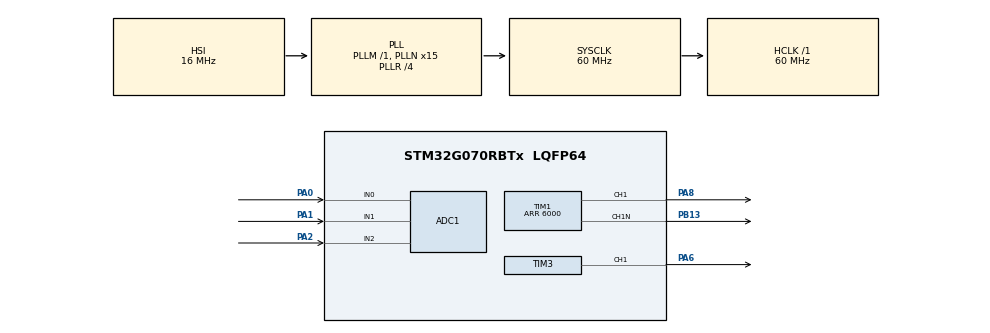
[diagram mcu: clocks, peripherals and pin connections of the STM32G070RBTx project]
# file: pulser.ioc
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ADC1.Channel-0\#ChannelRegularConversion=ADC_CHANNEL_0
ADC1.NbrOfConversionFlag=1
ADC1.Rank-0\#ChannelRegularConversion=1
ADC1.SamplingTime-0\#ChannelRegularConversion=ADC_SAMPLINGTIME_COMMON_1
ADC1.SelectedChannel=ADC_CHANNEL_0|ADC_CHANNEL_1|ADC_CHANNEL_2
ADC1.master=1
Mcu.Family=STM32G0
Mcu.Name=STM32G070RBTx
Mcu.Package=LQFP64
NVIC.TIM17_IRQn=true\:1\:0\:true\:false\:true\:true\:true\:true
NVIC.TIM1_CC_IRQn=true\:0\:0\:false\:false\:true\:true\:true\:true
PA0.Mode=IN0
PA0.Signal=ADC1_IN0
PA1.Mode=IN1
PA1.Signal=ADC1_IN1
PA13.Mode=Serial_Wire
PA13.Signal=SYS_SWDIO
PA14-BOOT0.Mode=Serial_Wire
PA14-BOOT0.Signal=SYS_SWCLK
PA2.Mode=IN2
PA2.Signal=ADC1_IN2
PA6.GPIO_PuPd=GPIO_NOPULL
PA6.GPIO_Speed=GPIO_SPEED_FREQ_MEDIUM
PA6.Signal=S_TIM3_CH1
PA8.GPIO_PuPd=GPIO_PULLDOWN
PA8.GPIO_Speed=GPIO_SPEED_FREQ_MEDIUM
PA8.Signal=S_TIM1_CH1
PB13.GPIO_PuPd=GPIO_PULLUP
PB13.GPIO_Speed=GPIO_SPEED_FREQ_MEDIUM
PB13.Mode=PWM Generation1 CH1 CH1N
PB13.Signal=TIM1_CH1N
ProjectManager.HeapSize=0x200
ProjectManager.StackSize=0x400
ProjectManager.TargetToolchain=MDK-ARM V5.32
RCC.ADCFreq_Value=60000000
RCC.AHBFreq_Value=60000000
RCC.CortexFreq_Value=60000000
RCC.EXTERNAL_CLOCK_VALUE=48000
RCC.HCLKFreq_Value=60000000
RCC.HSE_VALUE=8000000
RCC.HSI_VALUE=16000000
RCC.LSE_VALUE=32768
RCC.PLLN=15
RCC.PLLR=RCC_PLLR_DIV4
RCC.SYSCLKFreq_VALUE=60000000
RCC.SYSCLKSource=RCC_SYSCLKSOURCE_PLLCLK
RCC.VCOOutputFreq_Value=240000000
SH.S_TIM1_CH1.0=TIM1_CH1,PWM Generation1 CH1 CH1N
SH.S_TIM3_CH1.0=TIM3_CH1,PWM Generation1 CH1
TIM1.AutoReloadPreload=TIM_AUTORELOAD_PRELOAD_DISABLE
TIM1.Channel-PWM\ Generation1\ CH1\ CH1N=TIM_CHANNEL_1
TIM1.CounterMode=TIM_COUNTERMODE_UP
TIM1.OCNIdleState_1=TIM_OCNIDLESTATE_SET
TIM1.Period=6000
TIM1.Pulse-PWM\ Generation1\ CH1\ CH1N=100
TIM17.Period=60000-1
TIM3.AutoReloadPreload=TIM_AUTORELOAD_PRELOAD_ENABLE
TIM3.Channel-PWM\ Generation1\ CH1=TIM_CHANNEL_1
TIM3.Period=2048-1
TIM3.Pulse-PWM\ Generation1\ CH1=500
VP_SYS_VS_DBSignals.Mode=DisableDeadBatterySignals
VP_TIM17_VS_ClockSourceINT.Mode=Enable_Timer
VP_TIM1_VS_ClockSourceINT.Mode=Internal
VP_TIM3_VS_ClockSourceINT.Mode=Internal
board=custom

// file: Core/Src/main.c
/* USER CODE BEGIN Header */
/**
  ******************************************************************************
  * @file           : main.c
  * @brief          : Main program body
  ******************************************************************************
  * @attention
  *
  * Copyright (c) 2025 STMicroelectronics.
  * All rights reserved.
  *
  * This software is licensed under terms that can be found in the LICENSE file
  * in the root directory of this software component.
  * If no LICENSE file comes with this software, it is provided AS-IS.
  *
  ******************************************************************************
  */
/* USER CODE END Header */
#include "main.h"

/* USER CODE BEGIN Includes */
#include <math.h>
#include <float.h>
/* USER CODE END Includes */

 ADC_HandleTypeDef hadc1;

TIM_HandleTypeDef htim1;
TIM_HandleTypeDef htim3;
TIM_HandleTypeDef htim17;

void SystemClock_Config(void);
static void MX_GPIO_Init(void);
static void MX_TIM3_Init(void);
static void MX_TIM17_Init(void);
static void MX_ADC1_Init(void);
static void MX_TIM1_Init(void);

/* USER CODE BEGIN 0 */

#define htimDAC htim3
#define htimPWM htim1
#define htimTIM htim17

/**
  * @brief  配置PWM脉冲宽度（不修改PSC和ARR）
  * @param  htim: 定时器句柄指针
  * @param  Channel: PWM通道（TIM_CHANNEL_1等）
  * @param  pulseWidth_ns: 期望的脉冲宽度（纳秒）
  * @retval HAL状态
  */
HAL_StatusTypeDef TIM_ConfigPulseWidth(TIM_HandleTypeDef *htim, uint32_t Channel, uint32_t pulseWidth_ns)
{
    // 获取当前定时器配置
    uint32_t psc = htim->Instance->PSC;
    uint32_t arr = htim->Instance->ARR;
    uint32_t timerClockFreq = HAL_RCC_GetHCLKFreq(); // 假设使用APB1定时器（调整根据实际情况）

    // 计算定时器计数周期时间（纳秒）
    float timerPeriod_ns = (1.0f / (timerClockFreq / (psc + 1))) * 1e9f;

    // 计算需要的CCR值
    uint32_t ccr = (uint32_t)(pulseWidth_ns / timerPeriod_ns);

    // 确保CCR1小于ARR/2（根据需求）
    if (ccr > (arr / 2)) {
        ccr = arr / 2;
    }

    // 确保CCR值有效
    if (ccr == 0) {
        ccr = 1; // 脉冲宽度太短或太长
    }

    // 配置CCR寄存器
    switch (Channel) {
        case TIM_CHANNEL_1:
            htim->Instance->CCR1 = ccr;
            break;
        case TIM_CHANNEL_2:
            htim->Instance->CCR2 = ccr;
            break;
        case TIM_CHANNEL_3:
            htim->Instance->CCR3 = ccr;
            break;
        case TIM_CHANNEL_4:
            htim->Instance->CCR4 = ccr;
            break;
        default:
            return HAL_ERROR;
    }

    return HAL_OK;
}

/**
  * @brief  配置定时器以生成指定的频率（支持0.1Hz及误差优化）
  * @param  htim: 定时器句柄指针
  * @param  desiredFreq: 期望生成的频率(Hz) (支持0.1Hz及以上)
  * @retval HAL状态
  */
HAL_StatusTypeDef TIM_ConfigFrequencyOptimized(
                            float desiredFreq,
                            uint32_t pulseWidth_ns)
{
    // 检查输入参数的有效性
    if (desiredFreq <= 0.0f)
    {
        return HAL_ERROR;
    }

    uint32_t bestPsc = 0;
    uint32_t bestArr = 0;
    float minError = FLT_MAX;  // 初始化为最大浮点数
    float actualFreq = 0.0f;
    uint32_t timerClockFreq = HAL_RCC_GetHCLKFreq();

    // 计算理论周期数
    float desiredPeriods = (float)timerClockFreq / desiredFreq;

    // 搜索最佳PSC和ARR组合
    for (uint32_t psc = 0; psc <= 0xFFFF; psc++)
    {
        uint32_t arr = (uint32_t)(desiredPeriods / (psc + 1)) - 1;

        // 确保ARR在有效范围内
        if (arr > 0xFFFF)
            continue;

        // 计算实际频率和误差
        actualFreq = (float)timerClockFreq / ((psc + 1) * (arr + 1));
        float error = fabsf(actualFreq - desiredFreq);

        // 如果找到更精确的组合，更新最佳值
        if (error < minError)
        {
            minError = error;
            bestPsc = psc;
            bestArr = arr;

            // 如果误差已经很小，提前退出循环
            if (error < (desiredFreq * 0.001f)) // 0.1%误差
                break;
        }
    }

    // 检查是否找到有效组合
    if (bestArr == 0 && bestPsc == 0 && desiredFreq < ((float)timerClockFreq / (0xFFFFFFFF)))
    {
        // 处理极低频情况
        bestPsc = 0xFFFF;
        bestArr = (uint32_t)((float)timerClockFreq / (desiredFreq * (bestPsc + 1))) - 1;

        if (bestArr > 0xFFFF)
            return HAL_ERROR;
    }

    // 配置定时器
    HAL_TIM_PWM_Stop_IT(&htimPWM, TIM_CHANNEL_1);
		HAL_TIMEx_PWMN_Stop(&htimPWM, TIM_CHANNEL_1);
    HAL_TIM_Base_Stop_IT(&htimTIM);

    if(bestPsc == 0)
    {
        //只用到了PWM定时器
        __HAL_TIM_SET_PRESCALER(&htimPWM, 0);
        __HAL_TIM_SET_AUTORELOAD(&htimPWM, bestArr);

        TIM_ConfigPulseWidth(&htimPWM, TIM_CHANNEL_1, pulseWidth_ns);

        HAL_TIM_PWM_Start(&htimPWM, TIM_CHANNEL_1);
				HAL_TIMEx_PWMN_Start(&htimPWM, TIM_CHANNEL_1);
    }
    else
    {
        __HAL_TIM_SET_PRESCALER(&htimTIM, bestPsc);
        __HAL_TIM_SET_AUTORELOAD(&htimTIM, bestArr);
        //只用到了PWM定时器
        __HAL_TIM_SET_PRESCALER(&htimPWM, 0);
        __HAL_TIM_SET_AUTORELOAD(&htimPWM, 60000-1);

        TIM_ConfigPulseWidth(&htimPWM, TIM_CHANNEL_1, pulseWidth_ns);

        __HAL_TIM_SET_AUTORELOAD(&htimPWM, htimPWM.Instance->CCR1+10000);

        HAL_TIM_Base_Start_IT(&htimTIM);

    }

    return HAL_OK;
}

void HAL_TIM_PeriodElapsedCallback(TIM_HandleTypeDef *htim)
{
    if(htim == &htimTIM){
        HAL_TIM_PWM_Start_IT(&htimPWM, TIM_CHANNEL_1);
				HAL_TIMEx_PWMN_Start_IT(&htimPWM, TIM_CHANNEL_1);

    }
}

void HAL_TIM_PWM_PulseFinishedCallback(TIM_HandleTypeDef *htim)
{
    if(htim == &htimPWM){
				HAL_TIMEx_PWMN_Stop_IT(&htimPWM, TIM_CHANNEL_1);
        HAL_TIM_PWM_Stop_IT(&htimPWM, TIM_CHANNEL_1);
    }
}

uint32_t freq = 50,pulse = 100;
uint8_t need_fresh = 0;

/* USER CODE END 0 */

int main(void)
{

  /* MCU Configuration--------------------------------------------------------*/

  /* Reset of all peripherals, Initializes the Flash interface and the Systick. */
  HAL_Init();

  /* Configure the system clock */
  SystemClock_Config();

  /* Initialize all configured peripherals */
  MX_GPIO_Init();
  MX_TIM3_Init();
  MX_TIM17_Init();
  MX_ADC1_Init();
  MX_TIM1_Init();
  /* USER CODE BEGIN 2 */

  TIM_ConfigFrequencyOptimized(500, 6000);
	HAL_TIM_PWM_Start(&htimDAC, TIM_CHANNEL_1);

  /* USER CODE END 2 */

  /* Infinite loop */
  /* USER CODE BEGIN WHILE */
  while (1)
  {
      if(need_fresh){
          need_fresh = 0;
          TIM_ConfigFrequencyOptimized(freq / 10.0f, pulse);
      }
    /* USER CODE END WHILE */

  }
}

void SystemClock_Config(void)
{
  RCC_OscInitTypeDef RCC_OscInitStruct = {0};
  RCC_ClkInitTypeDef RCC_ClkInitStruct = {0};

  /** Configure the main internal regulator output voltage
  */
  HAL_PWREx_ControlVoltageScaling(PWR_REGULATOR_VOLTAGE_SCALE1);

  /** Initializes the RCC Oscillators according to the specified parameters
  * in the RCC_OscInitTypeDef structure.
  */
  RCC_OscInitStruct.OscillatorType = RCC_OSCILLATORTYPE_HSI;
  RCC_OscInitStruct.HSIState = RCC_HSI_ON;
  RCC_OscInitStruct.HSIDiv = RCC_HSI_DIV1;
  RCC_OscInitStruct.HSICalibrationValue = RCC_HSICALIBRATION_DEFAULT;
  RCC_OscInitStruct.PLL.PLLState = RCC_PLL_ON;
  RCC_OscInitStruct.PLL.PLLSource = RCC_PLLSOURCE_HSI;
  RCC_OscInitStruct.PLL.PLLM = RCC_PLLM_DIV1;
  RCC_OscInitStruct.PLL.PLLN = 15;
  RCC_OscInitStruct.PLL.PLLP = RCC_PLLP_DIV2;
  RCC_OscInitStruct.PLL.PLLR = RCC_PLLR_DIV4;
  if (HAL_RCC_OscConfig(&RCC_OscInitStruct) != HAL_OK)
  {
    Error_Handler();
  }

  /** Initializes the CPU, AHB and APB buses clocks
  */
  RCC_ClkInitStruct.ClockType = RCC_CLOCKTYPE_HCLK|RCC_CLOCKTYPE_SYSCLK
                              |RCC_CLOCKTYPE_PCLK1;
  RCC_ClkInitStruct.SYSCLKSource = RCC_SYSCLKSOURCE_PLLCLK;
  RCC_ClkInitStruct.AHBCLKDivider = RCC_SYSCLK_DIV1;
  RCC_ClkInitStruct.APB1CLKDivider = RCC_HCLK_DIV1;

  if (HAL_RCC_ClockConfig(&RCC_ClkInitStruct, FLASH_LATENCY_2) != HAL_OK)
  {
    Error_Handler();
  }
}

static void MX_ADC1_Init(void)
{

  ADC_ChannelConfTypeDef sConfig = {0};

  /** Configure the global features of the ADC (Clock, Resolution, Data Alignment and number of conversion)
  */
  hadc1.Instance = ADC1;
  hadc1.Init.ClockPrescaler = ADC_CLOCK_SYNC_PCLK_DIV2;
  hadc1.Init.Resolution = ADC_RESOLUTION_12B;
  hadc1.Init.DataAlign = ADC_DATAALIGN_RIGHT;
  hadc1.Init.ScanConvMode = ADC_SCAN_DISABLE;
  hadc1.Init.EOCSelection = ADC_EOC_SINGLE_CONV;
  hadc1.Init.LowPowerAutoWait = DISABLE;
  hadc1.Init.LowPowerAutoPowerOff = DISABLE;
  hadc1.Init.ContinuousConvMode = DISABLE;
  hadc1.Init.NbrOfConversion = 1;
  hadc1.Init.ExternalTrigConv = ADC_SOFTWARE_START;
  hadc1.Init.ExternalTrigConvEdge = ADC_EXTERNALTRIGCONVEDGE_NONE;
  hadc1.Init.DMAContinuousRequests = DISABLE;
  hadc1.Init.Overrun = ADC_OVR_DATA_PRESERVED;
  hadc1.Init.SamplingTimeCommon1 = ADC_SAMPLETIME_1CYCLE_5;
  hadc1.Init.SamplingTimeCommon2 = ADC_SAMPLETIME_1CYCLE_5;
  hadc1.Init.OversamplingMode = DISABLE;
  hadc1.Init.TriggerFrequencyMode = ADC_TRIGGER_FREQ_HIGH;
  if (HAL_ADC_Init(&hadc1) != HAL_OK)
  {
    Error_Handler();
  }

  /** Configure Regular Channel
  */
  sConfig.Channel = ADC_CHANNEL_0;
  sConfig.Rank = ADC_REGULAR_RANK_1;
  sConfig.SamplingTime = ADC_SAMPLINGTIME_COMMON_1;
  if (HAL_ADC_ConfigChannel(&hadc1, &sConfig) != HAL_OK)
  {
    Error_Handler();
  }

}

static void MX_TIM1_Init(void)
{

  TIM_ClockConfigTypeDef sClockSourceConfig = {0};
  TIM_MasterConfigTypeDef sMasterConfig = {0};
  TIM_OC_InitTypeDef sConfigOC = {0};
  TIM_BreakDeadTimeConfigTypeDef sBreakDeadTimeConfig = {0};

  htim1.Instance = TIM1;
  htim1.Init.Prescaler = 0;
  htim1.Init.CounterMode = TIM_COUNTERMODE_UP;
  htim1.Init.Period = 6000;
  htim1.Init.ClockDivision = TIM_CLOCKDIVISION_DIV1;
  htim1.Init.RepetitionCounter = 0;
  htim1.Init.AutoReloadPreload = TIM_AUTORELOAD_PRELOAD_DISABLE;
  if (HAL_TIM_Base_Init(&htim1) != HAL_OK)
  {
    Error_Handler();
  }
  sClockSourceConfig.ClockSource = TIM_CLOCKSOURCE_INTERNAL;
  if (HAL_TIM_ConfigClockSource(&htim1, &sClockSourceConfig) != HAL_OK)
  {
    Error_Handler();
  }
  if (HAL_TIM_PWM_Init(&htim1) != HAL_OK)
  {
    Error_Handler();
  }
  sMasterConfig.MasterOutputTrigger = TIM_TRGO_RESET;
  sMasterConfig.MasterOutputTrigger2 = TIM_TRGO2_RESET;
  sMasterConfig.MasterSlaveMode = TIM_MASTERSLAVEMODE_DISABLE;
  if (HAL_TIMEx_MasterConfigSynchronization(&htim1, &sMasterConfig) != HAL_OK)
  {
    Error_Handler();
  }
  sConfigOC.OCMode = TIM_OCMODE_PWM1;
  sConfigOC.Pulse = 100;
  sConfigOC.OCPolarity = TIM_OCPOLARITY_HIGH;
  sConfigOC.OCNPolarity = TIM_OCNPOLARITY_HIGH;
  sConfigOC.OCFastMode = TIM_OCFAST_DISABLE;
  sConfigOC.OCIdleState = TIM_OCIDLESTATE_RESET;
  sConfigOC.OCNIdleState = TIM_OCNIDLESTATE_SET;
  if (HAL_TIM_PWM_ConfigChannel(&htim1, &sConfigOC, TIM_CHANNEL_1) != HAL_OK)
  {
    Error_Handler();
  }
  sBreakDeadTimeConfig.OffStateRunMode = TIM_OSSR_DISABLE;
  sBreakDeadTimeConfig.OffStateIDLEMode = TIM_OSSI_DISABLE;
  sBreakDeadTimeConfig.LockLevel = TIM_LOCKLEVEL_OFF;
  sBreakDeadTimeConfig.DeadTime = 0;
  sBreakDeadTimeConfig.BreakState = TIM_BREAK_DISABLE;
  sBreakDeadTimeConfig.BreakPolarity = TIM_BREAKPOLARITY_HIGH;
  sBreakDeadTimeConfig.BreakFilter = 0;
  sBreakDeadTimeConfig.BreakAFMode = TIM_BREAK_AFMODE_INPUT;
  sBreakDeadTimeConfig.Break2State = TIM_BREAK2_DISABLE;
  sBreakDeadTimeConfig.Break2Polarity = TIM_BREAK2POLARITY_HIGH;
  sBreakDeadTimeConfig.Break2Filter = 0;
  sBreakDeadTimeConfig.Break2AFMode = TIM_BREAK_AFMODE_INPUT;
  sBreakDeadTimeConfig.AutomaticOutput = TIM_AUTOMATICOUTPUT_DISABLE;
  if (HAL_TIMEx_ConfigBreakDeadTime(&htim1, &sBreakDeadTimeConfig) != HAL_OK)
  {
    Error_Handler();
  }
  HAL_TIM_MspPostInit(&htim1);

}

static void MX_TIM3_Init(void)
{

  TIM_ClockConfigTypeDef sClockSourceConfig = {0};
  TIM_MasterConfigTypeDef sMasterConfig = {0};
  TIM_OC_InitTypeDef sConfigOC = {0};

  htim3.Instance = TIM3;
  htim3.Init.Prescaler = 0;
  htim3.Init.CounterMode = TIM_COUNTERMODE_UP;
  htim3.Init.Period = 2048-1;
  htim3.Init.ClockDivision = TIM_CLOCKDIVISION_DIV1;
  htim3.Init.AutoReloadPreload = TIM_AUTORELOAD_PRELOAD_ENABLE;
  if (HAL_TIM_Base_Init(&htim3) != HAL_OK)
  {
    Error_Handler();
  }
  sClockSourceConfig.ClockSource = TIM_CLOCKSOURCE_INTERNAL;
  if (HAL_TIM_ConfigClockSource(&htim3, &sClockSourceConfig) != HAL_OK)
  {
    Error_Handler();
  }
  if (HAL_TIM_PWM_Init(&htim3) != HAL_OK)
  {
    Error_Handler();
  }
  sMasterConfig.MasterOutputTrigger = TIM_TRGO_RESET;
  sMasterConfig.MasterSlaveMode = TIM_MASTERSLAVEMODE_DISABLE;
  if (HAL_TIMEx_MasterConfigSynchronization(&htim3, &sMasterConfig) != HAL_OK)
  {
    Error_Handler();
  }
  sConfigOC.OCMode = TIM_OCMODE_PWM1;
  sConfigOC.Pulse = 500;
  sConfigOC.OCPolarity = TIM_OCPOLARITY_HIGH;
  sConfigOC.OCFastMode = TIM_OCFAST_DISABLE;
  if (HAL_TIM_PWM_ConfigChannel(&htim3, &sConfigOC, TIM_CHANNEL_1) != HAL_OK)
  {
    Error_Handler();
  }
  HAL_TIM_MspPostInit(&htim3);

}

static void MX_TIM17_Init(void)
{

  htim17.Instance = TIM17;
  htim17.Init.Prescaler = 0;
  htim17.Init.CounterMode = TIM_COUNTERMODE_UP;
  htim17.Init.Period = 60000-1;
  htim17.Init.ClockDivision = TIM_CLOCKDIVISION_DIV1;
  htim17.Init.RepetitionCounter = 0;
  htim17.Init.AutoReloadPreload = TIM_AUTORELOAD_PRELOAD_DISABLE;
  if (HAL_TIM_Base_Init(&htim17) != HAL_OK)
  {
    Error_Handler();
  }

}

static void MX_GPIO_Init(void)
{

  /* GPIO Ports Clock Enable */
  __HAL_RCC_GPIOA_CLK_ENABLE();
  __HAL_RCC_GPIOB_CLK_ENABLE();

}

void Error_Handler(void)
{
  __disable_irq();
  while (1)
  {
  }
}
